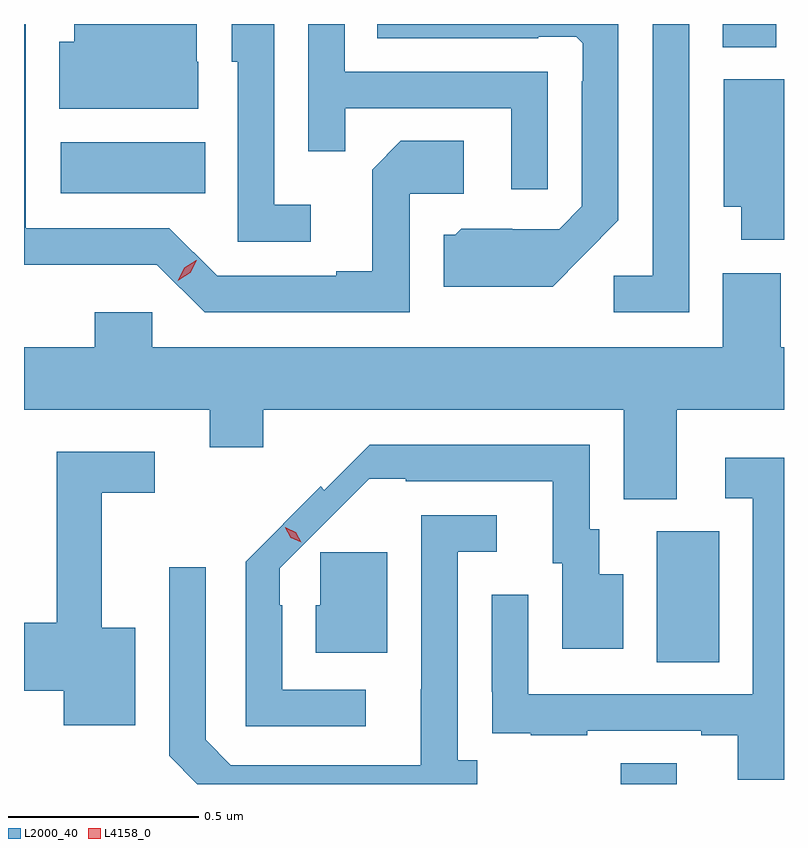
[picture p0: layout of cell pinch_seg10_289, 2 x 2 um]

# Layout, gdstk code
import gdstk
lib = gdstk.Library(unit=1e-6, precision=1e-09)
def R(c, l, rs):  # rectangles x0, y0, x1, y1
    for r in rs: c.add(gdstk.rectangle(r[:2], r[2:], *l))
def P(c, l, *ps):  # polygons
    for p in ps: c.add(gdstk.Polygon(p, *l))
L2000_40 = (2000, 40)
L4158_0 = (4158, 0)

pinch_seg10_289 = lib.new_cell('pinch_seg10_289')
R(pinch_seg10_289, L2000_40, [(509.368,1313.983,509.515,1314.038), (509.462,1314.304,509.626,1314.648), (507.894,1315.538,508.274,1315.672), (509.636,1315.922,509.776,1315.983)])
P(pinch_seg10_289, L2000_40, [(509.175,1315.857),(508.641,1315.857),(508.641,1315.983),(508.545,1315.983),(508.545,1315.648),(508.643,1315.648),(508.643,1315.761),(509.079,1315.761),(509.079,1315.548),(509.175,1315.548)],
  [(508.255,1315.884),(508.251,1315.884),(508.251,1315.983),(507.929,1315.983),(507.929,1315.936),(507.89,1315.936),(507.89,1315.76),(508.255,1315.76)],
  [(509.547,1315.983),(509.451,1315.983),(509.451,1315.32),(509.349,1315.32),(509.349,1315.224),(509.547,1315.224)],
  [(509.269,1315.373),(509.361,1315.466),(509.361,1315.983),(508.726,1315.983),(508.726,1315.946),(509.15,1315.946),(509.15,1315.95),(509.25,1315.95),(509.268,1315.932),(509.268,1315.832),(509.265,1315.832),(509.265,1315.503),(509.205,1315.443),(509.082,1315.443),(509.082,1315.444),(508.948,1315.444),(508.932,1315.428),(508.901,1315.428),(508.901,1315.292),(509.189,1315.292)],
  [(508.812,1315.536),(508.954,1315.536),(508.954,1315.676),(508.789,1315.676),(508.713,1315.6),(508.713,1315.333),(508.619,1315.333),(508.619,1315.32),(508.305,1315.32),(508.179,1315.446),(507.802,1315.446),(507.802,1315.983),(507.797,1315.983),(507.797,1315.349),(507.924,1315.349),(507.924,1315.35),(508.146,1315.35),(508.272,1315.224),(508.812,1315.224)],
  [(508.552,1315.507),(508.455,1315.507),(508.455,1315.983),(508.344,1315.983),(508.344,1315.884),(508.359,1315.884),(508.359,1315.41),(508.552,1315.41)],
  [(509.797,1315.837),(509.639,1315.837),(509.639,1315.502),(509.684,1315.502),(509.684,1315.415),(509.797,1315.415)],
  [(509.515,1314.968),(509.797,1314.968),(509.797,1315.132),(509.789,1315.132),(509.789,1315.327),(509.636,1315.327),(509.636,1315.132),(508.134,1315.132),(508.134,1315.225),(507.983,1315.225),(507.983,1315.132),(507.797,1315.132),(507.797,1314.968),(508.286,1314.968),(508.286,1314.869),(508.426,1314.869),(508.426,1314.968),(509.375,1314.968),(509.375,1314.733),(509.515,1314.733)],
  [(508.696,1314.231),(508.476,1314.231),(508.476,1314.454),(508.47,1314.454),(508.47,1314.551),(508.705,1314.786),(508.802,1314.786),(508.802,1314.78),(509.189,1314.78),(509.189,1314.564),(509.213,1314.564),(509.213,1314.339),(509.374,1314.339),(509.374,1314.535),(509.311,1314.535),(509.311,1314.654),(509.286,1314.654),(509.286,1314.876),(508.707,1314.876),(508.587,1314.756),(508.578,1314.766),(508.38,1314.568),(508.38,1314.135),(508.696,1314.135)],
  [(508.09,1314.394),(508.001,1314.394),(508.001,1314.75),(508.141,1314.75),(508.141,1314.858),(507.883,1314.858),(507.883,1314.407),(507.797,1314.407),(507.797,1314.229),(507.902,1314.229),(507.902,1314.137),(508.09,1314.137)],
  [(509.797,1314.841),(509.643,1314.841),(509.643,1314.735),(509.715,1314.735),(509.715,1314.219),(509.124,1314.219),(509.124,1314.481),(509.028,1314.481),(509.028,1314.226),(509.029,1314.226),(509.029,1314.117),(509.131,1314.117),(509.131,1314.111),(509.279,1314.111),(509.279,1314.123),(509.579,1314.123),(509.579,1314.111),(509.675,1314.111),(509.675,1313.994),(509.797,1313.994)],
  [(508.99,1314.046),(508.938,1314.046),(508.938,1314.594),(509.041,1314.594),(509.041,1314.69),(508.842,1314.69),(508.842,1314.233),(508.841,1314.233),(508.841,1314.033),(508.341,1314.033),(508.275,1314.099),(508.275,1314.553),(508.179,1314.553),(508.179,1314.057),(508.253,1313.983),(508.99,1313.983)],
  [(508.753,1314.593),(508.577,1314.593),(508.577,1314.454),(508.565,1314.454),(508.565,1314.329),(508.753,1314.329)])
P(pinch_seg10_289, L4158_0, [(508.526,1314.619),(508.499,1314.631),(508.484,1314.658),(508.484,1314.659),(508.485,1314.659),(508.512,1314.646),(508.527,1314.619),(508.527,1314.619)],
  [(508.202,1315.308),(508.202,1315.308),(508.219,1315.341),(508.25,1315.361),(508.251,1315.361),(508.251,1315.361),(508.234,1315.328),(508.202,1315.308)])

lib.write_gds('pinch_seg10_289.gds')
